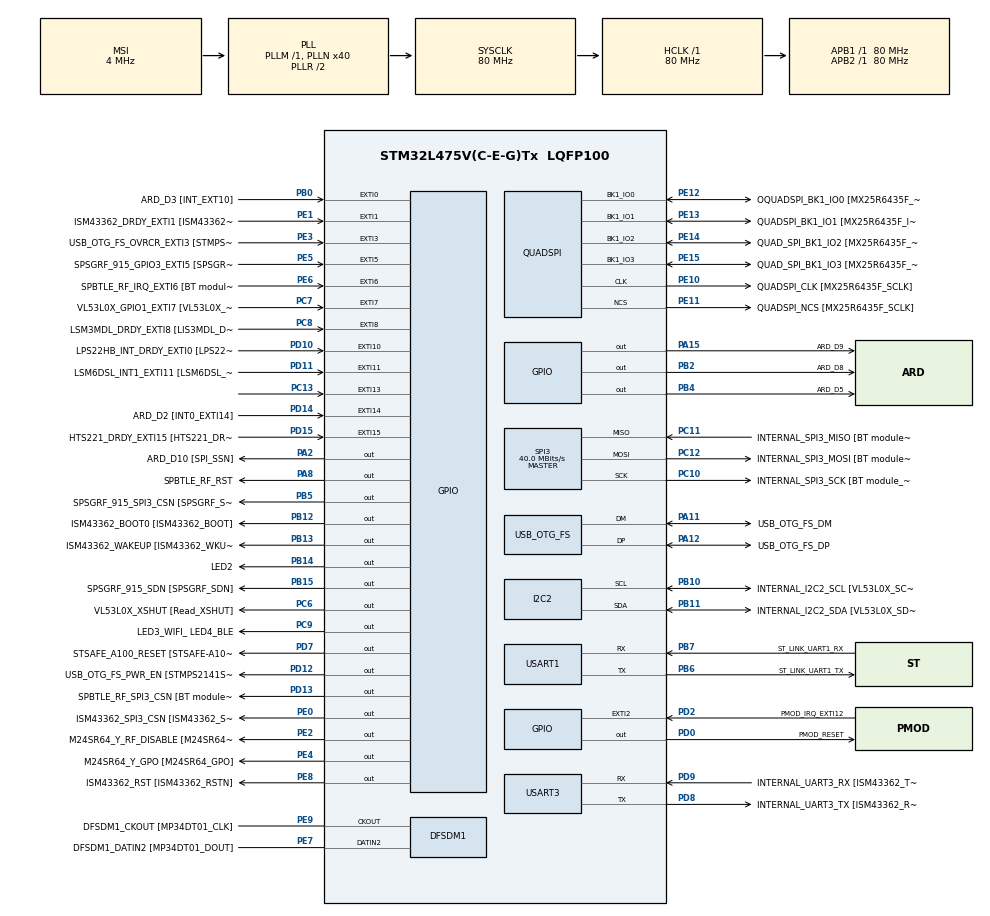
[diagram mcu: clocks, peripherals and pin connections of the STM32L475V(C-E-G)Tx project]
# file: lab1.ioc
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FREERTOS.BinarySemaphores01=buttonSem,Dynamic,NULL,Depleted;timerSem,Dynamic,NULL,Depleted
FREERTOS.Mutexes01=ledMutex,Dynamic,NULL,Available
FREERTOS.Queues01=buttonQueue,4,4,1,Dynamic,NULL,NULL
FREERTOS.Tasks01=defaultTask,24,128,StartDefaultTask,Default,NULL,Dynamic,NULL,NULL;myTask02,47,128,StartTask02,Default,NULL,Dynamic,NULL,NULL
FREERTOS.Timers01=periodicTimer,PeriodicTimerCallback,osTimerPeriodic,Default,NULL,Dynamic,NULL
I2C2.Timing=0x10D19CE4
Mcu.Family=STM32L4
Mcu.Name=STM32L475V(C-E-G)Tx
Mcu.Package=LQFP100
NVIC.EXTI15_10_IRQn=true\:5\:0\:false\:false\:true\:true\:true\:true\:true
NVIC.EXTI9_5_IRQn=true\:5\:0\:false\:false\:true\:true\:true\:true\:true
NVIC.PriorityGroup=NVIC_PRIORITYGROUP_4
PA0.GPIO_Label=ARD_D1 [UART4_TX]
PA0.Signal=UART4_TX
PA1.GPIO_Label=ARD_D0 [UART4_RX]
PA1.Signal=UART4_RX
PA10.GPIO_Label=USB_OTG_FS_ID
PA10.Signal=USB_OTG_FS_ID
PA11.GPIO_Label=USB_OTG_FS_DM
PA11.Mode=Device_Only
PA11.Signal=USB_OTG_FS_DM
PA12.GPIO_Label=USB_OTG_FS_DP
PA12.Mode=Device_Only
PA12.Signal=USB_OTG_FS_DP
PA13\ (JTMS-SWDIO).GPIO_Label=SYS_JTMS_SWDIO
PA13\ (JTMS-SWDIO).Mode=Serial_Wire
PA13\ (JTMS-SWDIO).Signal=SYS_JTMS-SWDIO
PA14\ (JTCK-SWCLK).GPIO_Label=SYS_JTCK_SWCLK
PA14\ (JTCK-SWCLK).Mode=Serial_Wire
PA14\ (JTCK-SWCLK).Signal=SYS_JTCK-SWCLK
PA15\ (JTDI).GPIO_Label=ARD_D9
PA15\ (JTDI).Signal=GPIO_Output
PA2.GPIO_Label=ARD_D10 [SPI_SSN]
PA2.Signal=GPIO_Output
PA3.GPIO_Label=ARD_D4
PA3.Signal=S_TIM2_CH4
PA4.GPIO_Label=ARD_D7
PA4.Signal=ADCx_IN9
PA5.GPIO_Label=ARD_D13 [SPI1_SCK]
PA5.Signal=SPI1_SCK
PA6.GPIO_Label=ARD_D12 [SPI1_MISO]
PA6.Signal=SPI1_MISO
PA7.GPIO_Label=ARD_D11 [SPI1_MOSI]
PA7.Signal=SPI1_MOSI
PA8.GPIO_Label=SPBTLE_RF_RST
PA8.Signal=GPIO_Output
PA9.GPIO_Label=USB_OTG_FS_VBUS [STMPS2141STR_OUT]
PA9.Signal=USB_OTG_FS_VBUS
PB0.GPIO_Label=ARD_D3 [INT_EXT10]
PB0.Signal=GPXTI0
PB1.GPIO_Label=ARD_D6 [ADC1_IN6]
PB1.Signal=ADCx_IN16
PB10.GPIO_Label=INTERNAL_I2C2_SCL [VL53L0X_SCL]
PB10.GPIO_Pu=GPIO_PULLUP
PB10.Mode=I2C
PB10.Signal=I2C2_SCL
PB11.GPIO_Label=INTERNAL_I2C2_SDA [VL53L0X_SDA]
PB11.GPIO_Pu=GPIO_PULLUP
PB11.Mode=I2C
PB11.Signal=I2C2_SDA
PB12.GPIO_Label=ISM43362_BOOT0 [ISM43362_BOOT]
PB12.Signal=GPIO_Output
PB13.GPIO_Label=ISM43362_WAKEUP [ISM43362_WKUP]
PB13.Signal=GPIO_Output
PB14.GPIO_Label=LED2
PB14.Signal=GPIO_Output
PB15.GPIO_Label=SPSGRF_915_SDN [SPSGRF_SDN]
PB15.Signal=GPIO_Output
PB2.GPIO_Label=ARD_D8
PB2.Signal=GPIO_Output
PB3\ (JTDO-TRACESWO).GPIO_Label=SYS_JTD0_SWO
PB3\ (JTDO-TRACESWO).Signal=SYS_JTDO-SWO
PB4\ (NJTRST).GPIO_Label=ARD_D5
PB4\ (NJTRST).Signal=GPIO_Output
PB5.GPIO_Label=SPSGRF_915_SPI3_CSN [SPSGRF_SPI_CS]
PB5.PinState=GPIO_PIN_SET
PB5.Signal=GPIO_Output
PB6.GPIO_Label=ST_LINK_UART1_TX
PB6.Mode=Asynchronous
PB6.Signal=USART1_TX
PB7.GPIO_Label=ST_LINK_UART1_RX
PB7.Mode=Asynchronous
PB7.Signal=USART1_RX
PB8.GPIO_Label=ARD_D15 [I2C1_SCL]
PB8.Signal=I2C1_SCL
PB9.GPIO_Label=ARD_D14 [I2C1_SDA]
PB9.Signal=I2C1_SDA
PC0.GPIO_Label=ARD_A5 [ADC]
PC0.Signal=ADCx_IN1
PC1.GPIO_Label=ARD_A4 [ADC]
PC1.Signal=ADCx_IN2
PC10.GPIO_Label=INTERNAL_SPI3_SCK [BT module_SPI_SCLK] [ISM43362_SCK]
PC10.Mode=Full_Duplex_Master
PC10.Signal=SPI3_SCK
PC11.GPIO_Label=INTERNAL_SPI3_MISO [BT module_SPI_MISO] [ISM43362_MISO]
PC11.Mode=Full_Duplex_Master
PC11.Signal=SPI3_MISO
PC12.GPIO_Label=INTERNAL_SPI3_MOSI [BT module_SPI_MOSI] [ISM43362_MOSI]
PC12.Mode=Full_Duplex_Master
PC12.Signal=SPI3_MOSI
PC13.GPIO_ModeDefaultEXTI=GPIO_MODE_IT_FALLING
PC13.Signal=GPXTI13
PC14-OSC32_IN\ (PC14).Mode=LSE-External-Oscillator
PC14-OSC32_IN\ (PC14).Signal=RCC_OSC32_IN
PC15-OSC32_OUT\ (PC15).Mode=LSE-External-Oscillator
PC15-OSC32_OUT\ (PC15).Signal=RCC_OSC32_OUT
PC2.GPIO_Label=ARD_A3 [ADC]
PC2.Signal=ADCx_IN3
PC3.GPIO_Label=ARD_A2 [ADC]
PC3.Signal=ADCx_IN4
PC4.GPIO_Label=ARD_A1 [ADC]
PC4.Signal=ADCx_IN13
PC5.GPIO_Label=ARD_A0 [ADC]
PC5.Signal=ADCx_IN14
PC6.GPIO_Label=VL53L0X_XSHUT [Read_XSHUT]
PC6.Signal=GPIO_Output
PC7.GPIO_Label=VL53L0X_GPIO1_EXTI7 [VL53L0X_GPIO1]
PC7.Signal=GPXTI7
PC8.GPIO_Label=LSM3MDL_DRDY_EXTI8 [LIS3MDL_DRDY]
PC8.Signal=GPXTI8
PC9.GPIO_Label=LED3_WIFI_ LED4_BLE
PC9.Signal=GPIO_Output
PD0.GPIO_Label=PMOD_RESET
PD0.Signal=GPIO_Output
PD1.GPIO_Label=PMOD_SPI2_SCK
PD1.Signal=SPI2_SCK
PD10.GPIO_Label=LPS22HB_INT_DRDY_EXTI0 [LPS22HB_INT_DRDY] 
PD10.Signal=GPXTI10
PD11.GPIO_Label=LSM6DSL_INT1_EXTI11 [LSM6DSL_INT1]
PD11.Signal=GPXTI11
PD12.GPIO_Label=USB_OTG_FS_PWR_EN [STMPS2141STR_EN]
PD12.Signal=GPIO_Output
PD13.GPIO_Label=SPBTLE_RF_SPI3_CSN [BT module_SPI_CS]
PD13.PinState=GPIO_PIN_SET
PD13.Signal=GPIO_Output
PD14.GPIO_Label=ARD_D2 [INT0_EXTI14]
PD14.Signal=GPXTI14
PD15.GPIO_Label=HTS221_DRDY_EXTI15 [HTS221_DRDY]
PD15.Signal=GPXTI15
PD2.GPIO_Label=PMOD_IRQ_EXTI12
PD2.Signal=GPXTI2
PD3.GPIO_Label=PMOD_UART2_CTS
PD3.Signal=USART2_CTS
PD4.GPIO_Label=PMOD_UART2_RTS
PD4.Signal=USART2_RTS
PD5.GPIO_Label=PMOD_UART2_TX
PD5.Signal=USART2_TX
PD6.GPIO_Label=PMOD_UART2_RX
PD6.Signal=USART2_RX
PD7.GPIO_Label=STSAFE_A100_RESET [STSAFE-A100_RESET]
PD7.Signal=GPIO_Output
PD8.GPIO_Label=INTERNAL_UART3_TX [ISM43362_RX]
PD8.Mode=Asynchronous
PD8.Signal=USART3_TX
PD9.GPIO_Label=INTERNAL_UART3_RX [ISM43362_TX]
PD9.Mode=Asynchronous
PD9.Signal=USART3_RX
PE0.GPIO_Label=ISM43362_SPI3_CSN [ISM43362_SSN]
PE0.PinState=GPIO_PIN_SET
PE0.Signal=GPIO_Output
PE1.GPIO_Label=ISM43362_DRDY_EXTI1 [ISM43362_DATARDY]
PE1.Signal=GPXTI1
PE10.GPIO_Label=QUADSPI_CLK [MX25R6435F_SCLK]
PE10.Mode=Single Bank
PE10.Signal=QUADSPI_CLK
PE11.GPIO_Label=QUADSPI_NCS [MX25R6435F_SCLK]
PE11.Mode=Single Bank
PE11.Signal=QUADSPI_NCS
PE12.GPIO_Label=OQUADSPI_BK1_IO0 [MX25R6435F_IO0]
PE12.Mode=Single Bank
PE12.Signal=QUADSPI_BK1_IO0
PE13.GPIO_Label=QUADSPI_BK1_IO1 [MX25R6435F_IO1]
PE13.Mode=Single Bank
PE13.Signal=QUADSPI_BK1_IO1
PE14.GPIO_Label=QUAD_SPI_BK1_IO2 [MX25R6435F_IO2]
PE14.Mode=Single Bank
PE14.Signal=QUADSPI_BK1_IO2
PE15.GPIO_Label=QUAD_SPI_BK1_IO3 [MX25R6435F_IO3]
PE15.Mode=Single Bank
PE15.Signal=QUADSPI_BK1_IO3
PE2.GPIO_Label=M24SR64_Y_RF_DISABLE [M24SR64_RFDIS]
PE2.Signal=GPIO_Output
PE3.GPIO_Label=USB_OTG_FS_OVRCR_EXTI3 [STMPS2141STR_FAULT]
PE3.Signal=GPXTI3
PE4.GPIO_Label=M24SR64_Y_GPO [M24SR64_GPO]
PE4.Signal=GPIO_Output
PE5.GPIO_Label=SPSGRF_915_GPIO3_EXTI5 [SPSGRF_GPIO_3]
PE5.Signal=GPXTI5
PE6.GPIO_Label=SPBTLE_RF_IRQ_EXTI6 [BT module_SPI_IRQ]
PE6.Signal=GPXTI6
PE7.GPIO_Label=DFSDM1_DATIN2 [MP34DT01_DOUT]
PE7.Signal=S_DATAIN2DFSDM1
PE8.GPIO_Label=ISM43362_RST [ISM43362_RSTN]
PE8.Signal=GPIO_Output
PE9.GPIO_Label=DFSDM1_CKOUT [MP34DT01_CLK]
PE9.Signal=S_CKOUTDFSDM1
ProjectManager.HeapSize=0x200
ProjectManager.StackSize=0x400
ProjectManager.TargetToolchain=STM32CubeIDE
QUADSPI.ClockPrescaler=2
QUADSPI.FifoThreshold=4
QUADSPI.FlashSize=23
QUADSPI.SampleShifting=QSPI_SAMPLE_SHIFTING_HALFCYCLE
RCC.ADCFreq_Value=48000000
RCC.AHBFreq_Value=80000000
RCC.APB1Freq_Value=80000000
RCC.APB1TimFreq_Value=80000000
RCC.APB2Freq_Value=80000000
RCC.APB2TimFreq_Value=80000000
RCC.CortexFreq_Value=80000000
RCC.HCLKFreq_Value=80000000
RCC.HSE_VALUE=8000000
RCC.HSI_VALUE=16000000
RCC.MSI_VALUE=4000000
RCC.PLLN=40
RCC.PLLSAI1N=24
RCC.SYSCLKFreq_VALUE=80000000
RCC.SYSCLKSource=RCC_SYSCLKSOURCE_PLLCLK
RCC.USBFreq_Value=48000000
RCC.VCOOutputFreq_Value=160000000
SH.ADCx_IN1.0=ADC1_IN1
SH.ADCx_IN13.0=ADC1_IN13
SH.ADCx_IN14.0=ADC1_IN14
SH.ADCx_IN16.0=ADC1_IN16
SH.ADCx_IN2.0=ADC1_IN2
SH.ADCx_IN3.0=ADC1_IN3
SH.ADCx_IN4.0=ADC1_IN4
SH.ADCx_IN9.0=ADC1_IN9
SH.S_CKOUTDFSDM1.0=DFSDM1_CKOUT,CKOUT
SH.S_CKOUTDFSDM1.1=DFSDM1_CKOUT,PDM_SPI_Input_from_ch12_and_Internal_Clock
SH.S_DATAIN2DFSDM1.0=DFSDM1_DATIN2,PDM_SPI_Input_from_ch12_and_Internal_Clock
SH.S_TIM2_CH4.0=TIM2_CH4
SPI3.CalculateBaudRate=40.0 MBits/s
SPI3.Direction=SPI_DIRECTION_2LINES
SPI3.Mode=SPI_MODE_MASTER
SPI3.VirtualType=VM_MASTER
USART1.VirtualMode-Asynchronous=VM_ASYNC
USART3.VirtualMode-Asynchronous=VM_ASYNC
USB_OTG_FS.VirtualMode=Device_Only
VP_FREERTOS_VS_CMSIS_V2.Mode=CMSIS_V2
board=B-L475E-IOT01A2

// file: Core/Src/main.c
/* USER CODE BEGIN Header */
/**
  ******************************************************************************
  * @file           : main.c
  * @brief          : Main program body
  ******************************************************************************
  * @attention
  *
  * Copyright (c) 2026 STMicroelectronics.
  * All rights reserved.
  *
  * This software is licensed under terms that can be found in the LICENSE file
  * in the root directory of this software component.
  * If no LICENSE file comes with this software, it is provided AS-IS.
  *
  ******************************************************************************
  */
/* USER CODE END Header */
#include "main.h"
#include "cmsis_os.h"

DFSDM_Channel_HandleTypeDef hdfsdm1_channel1;

I2C_HandleTypeDef hi2c2;

QSPI_HandleTypeDef hqspi;

SPI_HandleTypeDef hspi3;

UART_HandleTypeDef huart1;
UART_HandleTypeDef huart3;

PCD_HandleTypeDef hpcd_USB_OTG_FS;

/* Definitions for defaultTask */
osThreadId_t defaultTaskHandle;
const osThreadAttr_t defaultTask_attributes = {
  .name = "defaultTask",
  .stack_size = 128 * 4,
  .priority = (osPriority_t) osPriorityNormal,
};
/* Definitions for myTask02 */
osThreadId_t myTask02Handle;
const osThreadAttr_t myTask02_attributes = {
  .name = "myTask02",
  .stack_size = 128 * 4,
  .priority = (osPriority_t) osPriorityHigh7,
};
/* Definitions for buttonQueue */
osMessageQueueId_t buttonQueueHandle;
const osMessageQueueAttr_t buttonQueue_attributes = {
  .name = "buttonQueue"
};
/* Definitions for periodicTimer */
osTimerId_t periodicTimerHandle;
const osTimerAttr_t periodicTimer_attributes = {
  .name = "periodicTimer"
};
/* Definitions for ledMutex */
osMutexId_t ledMutexHandle;
const osMutexAttr_t ledMutex_attributes = {
  .name = "ledMutex"
};
/* Definitions for buttonSem */
osSemaphoreId_t buttonSemHandle;
const osSemaphoreAttr_t buttonSem_attributes = {
  .name = "buttonSem"
};
/* Definitions for timerSem */
osSemaphoreId_t timerSemHandle;
const osSemaphoreAttr_t timerSem_attributes = {
  .name = "timerSem"
};

void SystemClock_Config(void);
static void MX_GPIO_Init(void);
static void MX_DFSDM1_Init(void);
static void MX_I2C2_Init(void);
static void MX_QUADSPI_Init(void);
static void MX_SPI3_Init(void);
static void MX_USART1_UART_Init(void);
static void MX_USART3_UART_Init(void);
static void MX_USB_OTG_FS_PCD_Init(void);
void StartDefaultTask(void *argument);
void StartTask02(void *argument);
void PeriodicTimerCallback(void *argument);

int main(void)
{

  /* MCU Configuration--------------------------------------------------------*/

  /* Reset of all peripherals, Initializes the Flash interface and the Systick. */
  HAL_Init();

  /* Configure the system clock */
  SystemClock_Config();

  /* Initialize all configured peripherals */
  MX_GPIO_Init();
  MX_DFSDM1_Init();
  MX_I2C2_Init();
  MX_QUADSPI_Init();
  MX_SPI3_Init();
  MX_USART1_UART_Init();
  MX_USART3_UART_Init();
  MX_USB_OTG_FS_PCD_Init();

  /* Init scheduler */
  osKernelInitialize();
  /* Create the mutex(es) */
  /* creation of ledMutex */
  ledMutexHandle = osMutexNew(&ledMutex_attributes);

  /* Create the semaphores(s) */
  /* creation of buttonSem */
  /*buttonSemHandle = osSemaphoreNew(1, 0, &buttonSem_attributes);*/

  /* creation of timerSem */
  timerSemHandle = osSemaphoreNew(1, 0, &timerSem_attributes);

  /* Create the timer(s) */
  /* creation of periodicTimer */
  periodicTimerHandle = osTimerNew(PeriodicTimerCallback, osTimerPeriodic, NULL, &periodicTimer_attributes);

  /* USER CODE BEGIN RTOS_TIMERS */
  osTimerStart(periodicTimerHandle, 10000);
  /* USER CODE END RTOS_TIMERS */

  /* Create the queue(s) */
  /* creation of buttonQueue */
  buttonQueueHandle = osMessageQueueNew (4, 4, &buttonQueue_attributes);

  /* Create the thread(s) */
  /* creation of defaultTask */
  defaultTaskHandle = osThreadNew(StartDefaultTask, NULL, &defaultTask_attributes);

  /* creation of myTask02 */
  myTask02Handle = osThreadNew(StartTask02, NULL, &myTask02_attributes);

  /* Start scheduler */
  osKernelStart();

  /* We should never get here as control is now taken by the scheduler */

  /* Infinite loop */
  while (1)
  {

  }
}

void SystemClock_Config(void)
{
  RCC_OscInitTypeDef RCC_OscInitStruct = {0};
  RCC_ClkInitTypeDef RCC_ClkInitStruct = {0};

  /** Configure the main internal regulator output voltage
  */
  if (HAL_PWREx_ControlVoltageScaling(PWR_REGULATOR_VOLTAGE_SCALE1) != HAL_OK)
  {
    Error_Handler();
  }

  /** Configure LSE Drive Capability
  */
  HAL_PWR_EnableBkUpAccess();
  __HAL_RCC_LSEDRIVE_CONFIG(RCC_LSEDRIVE_LOW);

  /** Initializes the RCC Oscillators according to the specified parameters
  * in the RCC_OscInitTypeDef structure.
  */
  RCC_OscInitStruct.OscillatorType = RCC_OSCILLATORTYPE_LSE|RCC_OSCILLATORTYPE_MSI;
  RCC_OscInitStruct.LSEState = RCC_LSE_ON;
  RCC_OscInitStruct.MSIState = RCC_MSI_ON;
  RCC_OscInitStruct.MSICalibrationValue = 0;
  RCC_OscInitStruct.MSIClockRange = RCC_MSIRANGE_6;
  RCC_OscInitStruct.PLL.PLLState = RCC_PLL_ON;
  RCC_OscInitStruct.PLL.PLLSource = RCC_PLLSOURCE_MSI;
  RCC_OscInitStruct.PLL.PLLM = 1;
  RCC_OscInitStruct.PLL.PLLN = 40;
  RCC_OscInitStruct.PLL.PLLP = RCC_PLLP_DIV7;
  RCC_OscInitStruct.PLL.PLLQ = RCC_PLLQ_DIV2;
  RCC_OscInitStruct.PLL.PLLR = RCC_PLLR_DIV2;
  if (HAL_RCC_OscConfig(&RCC_OscInitStruct) != HAL_OK)
  {
    Error_Handler();
  }

  /** Initializes the CPU, AHB and APB buses clocks
  */
  RCC_ClkInitStruct.ClockType = RCC_CLOCKTYPE_HCLK|RCC_CLOCKTYPE_SYSCLK
                              |RCC_CLOCKTYPE_PCLK1|RCC_CLOCKTYPE_PCLK2;
  RCC_ClkInitStruct.SYSCLKSource = RCC_SYSCLKSOURCE_PLLCLK;
  RCC_ClkInitStruct.AHBCLKDivider = RCC_SYSCLK_DIV1;
  RCC_ClkInitStruct.APB1CLKDivider = RCC_HCLK_DIV1;
  RCC_ClkInitStruct.APB2CLKDivider = RCC_HCLK_DIV1;

  if (HAL_RCC_ClockConfig(&RCC_ClkInitStruct, FLASH_LATENCY_4) != HAL_OK)
  {
    Error_Handler();
  }

  /** Enable MSI Auto calibration
  */
  HAL_RCCEx_EnableMSIPLLMode();
}

static void MX_DFSDM1_Init(void)
{

  hdfsdm1_channel1.Instance = DFSDM1_Channel1;
  hdfsdm1_channel1.Init.OutputClock.Activation = ENABLE;
  hdfsdm1_channel1.Init.OutputClock.Selection = DFSDM_CHANNEL_OUTPUT_CLOCK_SYSTEM;
  hdfsdm1_channel1.Init.OutputClock.Divider = 2;
  hdfsdm1_channel1.Init.Input.Multiplexer = DFSDM_CHANNEL_EXTERNAL_INPUTS;
  hdfsdm1_channel1.Init.Input.DataPacking = DFSDM_CHANNEL_STANDARD_MODE;
  hdfsdm1_channel1.Init.Input.Pins = DFSDM_CHANNEL_FOLLOWING_CHANNEL_PINS;
  hdfsdm1_channel1.Init.SerialInterface.Type = DFSDM_CHANNEL_SPI_RISING;
  hdfsdm1_channel1.Init.SerialInterface.SpiClock = DFSDM_CHANNEL_SPI_CLOCK_INTERNAL;
  hdfsdm1_channel1.Init.Awd.FilterOrder = DFSDM_CHANNEL_FASTSINC_ORDER;
  hdfsdm1_channel1.Init.Awd.Oversampling = 1;
  hdfsdm1_channel1.Init.Offset = 0;
  hdfsdm1_channel1.Init.RightBitShift = 0x00;
  if (HAL_DFSDM_ChannelInit(&hdfsdm1_channel1) != HAL_OK)
  {
    Error_Handler();
  }

}

static void MX_I2C2_Init(void)
{

  hi2c2.Instance = I2C2;
  hi2c2.Init.Timing = 0x10D19CE4;
  hi2c2.Init.OwnAddress1 = 0;
  hi2c2.Init.AddressingMode = I2C_ADDRESSINGMODE_7BIT;
  hi2c2.Init.DualAddressMode = I2C_DUALADDRESS_DISABLE;
  hi2c2.Init.OwnAddress2 = 0;
  hi2c2.Init.OwnAddress2Masks = I2C_OA2_NOMASK;
  hi2c2.Init.GeneralCallMode = I2C_GENERALCALL_DISABLE;
  hi2c2.Init.NoStretchMode = I2C_NOSTRETCH_DISABLE;
  if (HAL_I2C_Init(&hi2c2) != HAL_OK)
  {
    Error_Handler();
  }

  /** Configure Analogue filter
  */
  if (HAL_I2CEx_ConfigAnalogFilter(&hi2c2, I2C_ANALOGFILTER_ENABLE) != HAL_OK)
  {
    Error_Handler();
  }

  /** Configure Digital filter
  */
  if (HAL_I2CEx_ConfigDigitalFilter(&hi2c2, 0) != HAL_OK)
  {
    Error_Handler();
  }

}

static void MX_QUADSPI_Init(void)
{

  /* QUADSPI parameter configuration*/
  hqspi.Instance = QUADSPI;
  hqspi.Init.ClockPrescaler = 2;
  hqspi.Init.FifoThreshold = 4;
  hqspi.Init.SampleShifting = QSPI_SAMPLE_SHIFTING_HALFCYCLE;
  hqspi.Init.FlashSize = 23;
  hqspi.Init.ChipSelectHighTime = QSPI_CS_HIGH_TIME_1_CYCLE;
  hqspi.Init.ClockMode = QSPI_CLOCK_MODE_0;
  if (HAL_QSPI_Init(&hqspi) != HAL_OK)
  {
    Error_Handler();
  }

}

static void MX_SPI3_Init(void)
{

  /* SPI3 parameter configuration*/
  hspi3.Instance = SPI3;
  hspi3.Init.Mode = SPI_MODE_MASTER;
  hspi3.Init.Direction = SPI_DIRECTION_2LINES;
  hspi3.Init.DataSize = SPI_DATASIZE_4BIT;
  hspi3.Init.CLKPolarity = SPI_POLARITY_LOW;
  hspi3.Init.CLKPhase = SPI_PHASE_1EDGE;
  hspi3.Init.NSS = SPI_NSS_SOFT;
  hspi3.Init.BaudRatePrescaler = SPI_BAUDRATEPRESCALER_2;
  hspi3.Init.FirstBit = SPI_FIRSTBIT_MSB;
  hspi3.Init.TIMode = SPI_TIMODE_DISABLE;
  hspi3.Init.CRCCalculation = SPI_CRCCALCULATION_DISABLE;
  hspi3.Init.CRCPolynomial = 7;
  hspi3.Init.CRCLength = SPI_CRC_LENGTH_DATASIZE;
  hspi3.Init.NSSPMode = SPI_NSS_PULSE_ENABLE;
  if (HAL_SPI_Init(&hspi3) != HAL_OK)
  {
    Error_Handler();
  }

}

static void MX_USART1_UART_Init(void)
{

  huart1.Instance = USART1;
  huart1.Init.BaudRate = 115200;
  huart1.Init.WordLength = UART_WORDLENGTH_8B;
  huart1.Init.StopBits = UART_STOPBITS_1;
  huart1.Init.Parity = UART_PARITY_NONE;
  huart1.Init.Mode = UART_MODE_TX_RX;
  huart1.Init.HwFlowCtl = UART_HWCONTROL_NONE;
  huart1.Init.OverSampling = UART_OVERSAMPLING_16;
  huart1.Init.OneBitSampling = UART_ONE_BIT_SAMPLE_DISABLE;
  huart1.AdvancedInit.AdvFeatureInit = UART_ADVFEATURE_NO_INIT;
  if (HAL_UART_Init(&huart1) != HAL_OK)
  {
    Error_Handler();
  }

}

static void MX_USART3_UART_Init(void)
{

  huart3.Instance = USART3;
  huart3.Init.BaudRate = 115200;
  huart3.Init.WordLength = UART_WORDLENGTH_8B;
  huart3.Init.StopBits = UART_STOPBITS_1;
  huart3.Init.Parity = UART_PARITY_NONE;
  huart3.Init.Mode = UART_MODE_TX_RX;
  huart3.Init.HwFlowCtl = UART_HWCONTROL_NONE;
  huart3.Init.OverSampling = UART_OVERSAMPLING_16;
  huart3.Init.OneBitSampling = UART_ONE_BIT_SAMPLE_DISABLE;
  huart3.AdvancedInit.AdvFeatureInit = UART_ADVFEATURE_NO_INIT;
  if (HAL_UART_Init(&huart3) != HAL_OK)
  {
    Error_Handler();
  }

}

static void MX_USB_OTG_FS_PCD_Init(void)
{

  hpcd_USB_OTG_FS.Instance = USB_OTG_FS;
  hpcd_USB_OTG_FS.Init.dev_endpoints = 6;
  hpcd_USB_OTG_FS.Init.speed = PCD_SPEED_FULL;
  hpcd_USB_OTG_FS.Init.phy_itface = PCD_PHY_EMBEDDED;
  hpcd_USB_OTG_FS.Init.Sof_enable = DISABLE;
  hpcd_USB_OTG_FS.Init.low_power_enable = DISABLE;
  hpcd_USB_OTG_FS.Init.lpm_enable = DISABLE;
  hpcd_USB_OTG_FS.Init.battery_charging_enable = DISABLE;
  hpcd_USB_OTG_FS.Init.use_dedicated_ep1 = DISABLE;
  hpcd_USB_OTG_FS.Init.vbus_sensing_enable = DISABLE;
  if (HAL_PCD_Init(&hpcd_USB_OTG_FS) != HAL_OK)
  {
    Error_Handler();
  }

}

static void MX_GPIO_Init(void)
{
  GPIO_InitTypeDef GPIO_InitStruct = {0};

  /* GPIO Ports Clock Enable */
  __HAL_RCC_GPIOE_CLK_ENABLE();
  __HAL_RCC_GPIOC_CLK_ENABLE();
  __HAL_RCC_GPIOA_CLK_ENABLE();
  __HAL_RCC_GPIOB_CLK_ENABLE();
  __HAL_RCC_GPIOD_CLK_ENABLE();

  /*Configure GPIO pin Output Level */
  HAL_GPIO_WritePin(GPIOE, M24SR64_Y_RF_DISABLE_Pin|M24SR64_Y_GPO_Pin|ISM43362_RST_Pin, GPIO_PIN_RESET);

  /*Configure GPIO pin Output Level */
  HAL_GPIO_WritePin(GPIOA, ARD_D10_Pin|SPBTLE_RF_RST_Pin|ARD_D9_Pin, GPIO_PIN_RESET);

  /*Configure GPIO pin Output Level */
  HAL_GPIO_WritePin(GPIOB, ARD_D8_Pin|ISM43362_BOOT0_Pin|ISM43362_WAKEUP_Pin|LED2_Pin
                          |SPSGRF_915_SDN_Pin|ARD_D5_Pin, GPIO_PIN_RESET);

  /*Configure GPIO pin Output Level */
  HAL_GPIO_WritePin(GPIOD, USB_OTG_FS_PWR_EN_Pin|PMOD_RESET_Pin|STSAFE_A100_RESET_Pin, GPIO_PIN_RESET);

  /*Configure GPIO pin Output Level */
  HAL_GPIO_WritePin(SPBTLE_RF_SPI3_CSN_GPIO_Port, SPBTLE_RF_SPI3_CSN_Pin, GPIO_PIN_SET);

  /*Configure GPIO pin Output Level */
  HAL_GPIO_WritePin(GPIOC, VL53L0X_XSHUT_Pin|LED3_WIFI__LED4_BLE_Pin, GPIO_PIN_RESET);

  /*Configure GPIO pin Output Level */
  HAL_GPIO_WritePin(SPSGRF_915_SPI3_CSN_GPIO_Port, SPSGRF_915_SPI3_CSN_Pin, GPIO_PIN_SET);

  /*Configure GPIO pin Output Level */
  HAL_GPIO_WritePin(ISM43362_SPI3_CSN_GPIO_Port, ISM43362_SPI3_CSN_Pin, GPIO_PIN_SET);

  /*Configure GPIO pins : M24SR64_Y_RF_DISABLE_Pin M24SR64_Y_GPO_Pin ISM43362_RST_Pin ISM43362_SPI3_CSN_Pin */
  GPIO_InitStruct.Pin = M24SR64_Y_RF_DISABLE_Pin|M24SR64_Y_GPO_Pin|ISM43362_RST_Pin|ISM43362_SPI3_CSN_Pin;
  GPIO_InitStruct.Mode = GPIO_MODE_OUTPUT_PP;
  GPIO_InitStruct.Pull = GPIO_NOPULL;
  GPIO_InitStruct.Speed = GPIO_SPEED_FREQ_LOW;
  HAL_GPIO_Init(GPIOE, &GPIO_InitStruct);

  /*Configure GPIO pins : USB_OTG_FS_OVRCR_EXTI3_Pin SPSGRF_915_GPIO3_EXTI5_Pin SPBTLE_RF_IRQ_EXTI6_Pin ISM43362_DRDY_EXTI1_Pin */
  GPIO_InitStruct.Pin = USB_OTG_FS_OVRCR_EXTI3_Pin|SPSGRF_915_GPIO3_EXTI5_Pin|SPBTLE_RF_IRQ_EXTI6_Pin|ISM43362_DRDY_EXTI1_Pin;
  GPIO_InitStruct.Mode = GPIO_MODE_IT_RISING;
  GPIO_InitStruct.Pull = GPIO_NOPULL;
  HAL_GPIO_Init(GPIOE, &GPIO_InitStruct);

  /*Configure GPIO pin : PC13 */
  GPIO_InitStruct.Pin = GPIO_PIN_13;
  GPIO_InitStruct.Mode = GPIO_MODE_IT_RISING_FALLING;
  GPIO_InitStruct.Pull = GPIO_NOPULL;
  HAL_GPIO_Init(GPIOC, &GPIO_InitStruct);

  /*Configure GPIO pins : ARD_A5_Pin ARD_A4_Pin ARD_A3_Pin ARD_A2_Pin
                           ARD_A1_Pin ARD_A0_Pin */
  GPIO_InitStruct.Pin = ARD_A5_Pin|ARD_A4_Pin|ARD_A3_Pin|ARD_A2_Pin
                          |ARD_A1_Pin|ARD_A0_Pin;
  GPIO_InitStruct.Mode = GPIO_MODE_ANALOG_ADC_CONTROL;
  GPIO_InitStruct.Pull = GPIO_NOPULL;
  HAL_GPIO_Init(GPIOC, &GPIO_InitStruct);

  /*Configure GPIO pins : ARD_D1_Pin ARD_D0_Pin */
  GPIO_InitStruct.Pin = ARD_D1_Pin|ARD_D0_Pin;
  GPIO_InitStruct.Mode = GPIO_MODE_AF_PP;
  GPIO_InitStruct.Pull = GPIO_NOPULL;
  GPIO_InitStruct.Speed = GPIO_SPEED_FREQ_VERY_HIGH;
  GPIO_InitStruct.Alternate = GPIO_AF8_UART4;
  HAL_GPIO_Init(GPIOA, &GPIO_InitStruct);

  /*Configure GPIO pins : ARD_D10_Pin SPBTLE_RF_RST_Pin ARD_D9_Pin */
  GPIO_InitStruct.Pin = ARD_D10_Pin|SPBTLE_RF_RST_Pin|ARD_D9_Pin;
  GPIO_InitStruct.Mode = GPIO_MODE_OUTPUT_PP;
  GPIO_InitStruct.Pull = GPIO_NOPULL;
  GPIO_InitStruct.Speed = GPIO_SPEED_FREQ_LOW;
  HAL_GPIO_Init(GPIOA, &GPIO_InitStruct);

  /*Configure GPIO pin : ARD_D4_Pin */
  GPIO_InitStruct.Pin = ARD_D4_Pin;
  GPIO_InitStruct.Mode = GPIO_MODE_AF_PP;
  GPIO_InitStruct.Pull = GPIO_NOPULL;
  GPIO_InitStruct.Speed = GPIO_SPEED_FREQ_LOW;
  GPIO_InitStruct.Alternate = GPIO_AF1_TIM2;
  HAL_GPIO_Init(ARD_D4_GPIO_Port, &GPIO_InitStruct);

  /*Configure GPIO pin : ARD_D7_Pin */
  GPIO_InitStruct.Pin = ARD_D7_Pin;
  GPIO_InitStruct.Mode = GPIO_MODE_ANALOG_ADC_CONTROL;
  GPIO_InitStruct.Pull = GPIO_NOPULL;
  HAL_GPIO_Init(ARD_D7_GPIO_Port, &GPIO_InitStruct);

  /*Configure GPIO pins : ARD_D13_Pin ARD_D12_Pin ARD_D11_Pin */
  GPIO_InitStruct.Pin = ARD_D13_Pin|ARD_D12_Pin|ARD_D11_Pin;
  GPIO_InitStruct.Mode = GPIO_MODE_AF_PP;
  GPIO_InitStruct.Pull = GPIO_NOPULL;
  GPIO_InitStruct.Speed = GPIO_SPEED_FREQ_VERY_HIGH;
  GPIO_InitStruct.Alternate = GPIO_AF5_SPI1;
  HAL_GPIO_Init(GPIOA, &GPIO_InitStruct);

  /*Configure GPIO pin : ARD_D3_Pin */
  GPIO_InitStruct.Pin = ARD_D3_Pin;
  GPIO_InitStruct.Mode = GPIO_MODE_IT_RISING;
  GPIO_InitStruct.Pull = GPIO_NOPULL;
  HAL_GPIO_Init(ARD_D3_GPIO_Port, &GPIO_InitStruct);

  /*Configure GPIO pin : ARD_D6_Pin */
  GPIO_InitStruct.Pin = ARD_D6_Pin;
  GPIO_InitStruct.Mode = GPIO_MODE_ANALOG_ADC_CONTROL;
  GPIO_InitStruct.Pull = GPIO_NOPULL;
  HAL_GPIO_Init(ARD_D6_GPIO_Port, &GPIO_InitStruct);

  /*Configure GPIO pins : ARD_D8_Pin ISM43362_BOOT0_Pin ISM43362_WAKEUP_Pin LED2_Pin
                           SPSGRF_915_SDN_Pin ARD_D5_Pin SPSGRF_915_SPI3_CSN_Pin */
  GPIO_InitStruct.Pin = ARD_D8_Pin|ISM43362_BOOT0_Pin|ISM43362_WAKEUP_Pin|LED2_Pin
                          |SPSGRF_915_SDN_Pin|ARD_D5_Pin|SPSGRF_915_SPI3_CSN_Pin;
  GPIO_InitStruct.Mode = GPIO_MODE_OUTPUT_PP;
  GPIO_InitStruct.Pull = GPIO_NOPULL;
  GPIO_InitStruct.Speed = GPIO_SPEED_FREQ_LOW;
  HAL_GPIO_Init(GPIOB, &GPIO_InitStruct);

  /*Configure GPIO pins : LPS22HB_INT_DRDY_EXTI0_Pin LSM6DSL_INT1_EXTI11_Pin ARD_D2_Pin HTS221_DRDY_EXTI15_Pin
                           PMOD_IRQ_EXTI12_Pin */
  GPIO_InitStruct.Pin = LPS22HB_INT_DRDY_EXTI0_Pin|LSM6DSL_INT1_EXTI11_Pin|ARD_D2_Pin|HTS221_DRDY_EXTI15_Pin
                          |PMOD_IRQ_EXTI12_Pin;
  GPIO_InitStruct.Mode = GPIO_MODE_IT_RISING;
  GPIO_InitStruct.Pull = GPIO_NOPULL;
  HAL_GPIO_Init(GPIOD, &GPIO_InitStruct);

  /*Configure GPIO pins : USB_OTG_FS_PWR_EN_Pin SPBTLE_RF_SPI3_CSN_Pin PMOD_RESET_Pin STSAFE_A100_RESET_Pin */
  GPIO_InitStruct.Pin = USB_OTG_FS_PWR_EN_Pin|SPBTLE_RF_SPI3_CSN_Pin|PMOD_RESET_Pin|STSAFE_A100_RESET_Pin;
  GPIO_InitStruct.Mode = GPIO_MODE_OUTPUT_PP;
  GPIO_InitStruct.Pull = GPIO_NOPULL;
  GPIO_InitStruct.Speed = GPIO_SPEED_FREQ_LOW;
  HAL_GPIO_Init(GPIOD, &GPIO_InitStruct);

  /*Configure GPIO pins : VL53L0X_XSHUT_Pin LED3_WIFI__LED4_BLE_Pin */
  GPIO_InitStruct.Pin = VL53L0X_XSHUT_Pin|LED3_WIFI__LED4_BLE_Pin;
  GPIO_InitStruct.Mode = GPIO_MODE_OUTPUT_PP;
  GPIO_InitStruct.Pull = GPIO_NOPULL;
  GPIO_InitStruct.Speed = GPIO_SPEED_FREQ_LOW;
  HAL_GPIO_Init(GPIOC, &GPIO_InitStruct);

  /*Configure GPIO pins : VL53L0X_GPIO1_EXTI7_Pin LSM3MDL_DRDY_EXTI8_Pin */
  GPIO_InitStruct.Pin = VL53L0X_GPIO1_EXTI7_Pin|LSM3MDL_DRDY_EXTI8_Pin;
  GPIO_InitStruct.Mode = GPIO_MODE_IT_RISING;
  GPIO_InitStruct.Pull = GPIO_NOPULL;
  HAL_GPIO_Init(GPIOC, &GPIO_InitStruct);

  /*Configure GPIO pin : PMOD_SPI2_SCK_Pin */
  GPIO_InitStruct.Pin = PMOD_SPI2_SCK_Pin;
  GPIO_InitStruct.Mode = GPIO_MODE_AF_PP;
  GPIO_InitStruct.Pull = GPIO_NOPULL;
  GPIO_InitStruct.Speed = GPIO_SPEED_FREQ_VERY_HIGH;
  GPIO_InitStruct.Alternate = GPIO_AF5_SPI2;
  HAL_GPIO_Init(PMOD_SPI2_SCK_GPIO_Port, &GPIO_InitStruct);

  /*Configure GPIO pins : PMOD_UART2_CTS_Pin PMOD_UART2_RTS_Pin PMOD_UART2_TX_Pin PMOD_UART2_RX_Pin */
  GPIO_InitStruct.Pin = PMOD_UART2_CTS_Pin|PMOD_UART2_RTS_Pin|PMOD_UART2_TX_Pin|PMOD_UART2_RX_Pin;
  GPIO_InitStruct.Mode = GPIO_MODE_AF_PP;
  GPIO_InitStruct.Pull = GPIO_NOPULL;
  GPIO_InitStruct.Speed = GPIO_SPEED_FREQ_VERY_HIGH;
  GPIO_InitStruct.Alternate = GPIO_AF7_USART2;
  HAL_GPIO_Init(GPIOD, &GPIO_InitStruct);

  /*Configure GPIO pins : ARD_D15_Pin ARD_D14_Pin */
  GPIO_InitStruct.Pin = ARD_D15_Pin|ARD_D14_Pin;
  GPIO_InitStruct.Mode = GPIO_MODE_AF_OD;
  GPIO_InitStruct.Pull = GPIO_NOPULL;
  GPIO_InitStruct.Speed = GPIO_SPEED_FREQ_VERY_HIGH;
  GPIO_InitStruct.Alternate = GPIO_AF4_I2C1;
  HAL_GPIO_Init(GPIOB, &GPIO_InitStruct);

  /* EXTI interrupt init*/
  HAL_NVIC_SetPriority(EXTI9_5_IRQn, 5, 0);
  HAL_NVIC_EnableIRQ(EXTI9_5_IRQn);

  HAL_NVIC_SetPriority(EXTI15_10_IRQn, 5, 0);
  HAL_NVIC_EnableIRQ(EXTI15_10_IRQn);

}

/* USER CODE BEGIN 4 */
void HAL_GPIO_EXTI_Callback(uint16_t GPIO_Pin)
{
    if (GPIO_Pin == GPIO_PIN_13)
    {
        static uint32_t press_tick = 0;

        if (HAL_GPIO_ReadPin(GPIOC, GPIO_PIN_13) == GPIO_PIN_RESET)
        {
            press_tick = HAL_GetTick();
        }
        else
        {
            uint32_t duration = HAL_GetTick() - press_tick;
            uint32_t msg;

            if (duration >= 1000)
                msg = 2;   // long press
            else
                msg = 1;   // short press

            osMessageQueuePut(buttonQueueHandle, &msg, 0, 0);
        }
    }
}
/* USER CODE END 4 */

void StartDefaultTask(void *argument)
{
	uint32_t msg;

  for(;;)
  {
    osMessageQueueGet(buttonQueueHandle, &msg, NULL, osWaitForever);

    osMutexAcquire(ledMutexHandle, osWaitForever);

    if (msg == 1)
    {
      // short press → 5s 1Hz
      for (int i = 0; i < 10; i++)
      {
        HAL_GPIO_TogglePin(LED2_GPIO_Port, LED2_Pin);
        osDelay(500);
      }
    }
    else
    {
      // long press → 5s 10Hz
      for (int i = 0; i < 100; i++)
      {
        HAL_GPIO_TogglePin(LED2_GPIO_Port, LED2_Pin);
        osDelay(50);
      }
    }

    HAL_GPIO_WritePin(LED2_GPIO_Port, LED2_Pin, GPIO_PIN_RESET);

    osMutexRelease(ledMutexHandle);
  }
}

void StartTask02(void *argument)
{
  /* USER CODE BEGIN StartTask02 */
  for(;;)
  {
    osSemaphoreAcquire(timerSemHandle, osWaitForever);

    osMutexAcquire(ledMutexHandle, osWaitForever);

    for (int i = 0; i < 40; i++)
    {
      HAL_GPIO_TogglePin(LED2_GPIO_Port, LED2_Pin);
      osDelay(50);
    }

    HAL_GPIO_WritePin(LED2_GPIO_Port, LED2_Pin, GPIO_PIN_RESET);

    osMutexRelease(ledMutexHandle);
  }
  /* USER CODE END StartTask02 */
}

/* PeriodicTimerCallback function */
void PeriodicTimerCallback(void *argument)
{
    osSemaphoreRelease(timerSemHandle);
}

void Error_Handler(void)
{
  __disable_irq();
  while (1)
  {
  }
}
